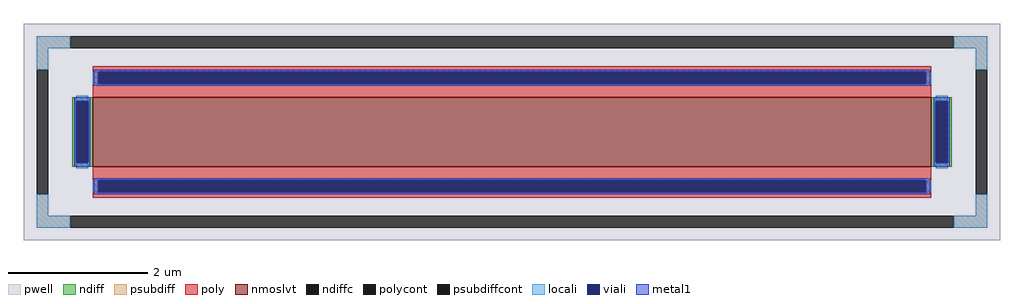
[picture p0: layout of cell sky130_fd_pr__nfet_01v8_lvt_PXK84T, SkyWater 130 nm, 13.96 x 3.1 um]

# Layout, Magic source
magic
tech sky130A
<< pwell >>
rect -698 -155 698 155
<< nmoslvt >>
rect -600 -50 600 50
<< ndiff >>
rect -629 44 -600 50
rect -629 -44 -623 44
rect -606 -44 -600 44
rect -629 -50 -600 -44
rect 600 44 629 50
rect 600 -44 606 44
rect 623 -44 629 44
rect 600 -50 629 -44
<< ndiffc >>
rect -623 -44 -606 44
rect 606 -44 623 44
<< psubdiff >>
rect -680 120 -632 137
rect 632 120 680 137
rect -680 89 -663 120
rect 663 89 680 120
rect -680 -120 -663 -89
rect 663 -120 680 -89
rect -680 -137 -632 -120
rect 632 -137 680 -120
<< psubdiffcont >>
rect -632 120 632 137
rect -680 -89 -663 89
rect 663 -89 680 89
rect -632 -137 632 -120
<< poly >>
rect -600 86 600 94
rect -600 69 -592 86
rect 592 69 600 86
rect -600 50 600 69
rect -600 -69 600 -50
rect -600 -86 -592 -69
rect 592 -86 600 -69
rect -600 -94 600 -86
<< polycont >>
rect -592 69 592 86
rect -592 -86 592 -69
<< locali >>
rect -680 120 -632 137
rect 632 120 680 137
rect -680 89 -663 120
rect 663 89 680 120
rect -600 69 -592 86
rect 592 69 600 86
rect -623 44 -606 52
rect -623 -52 -606 -44
rect 606 44 623 52
rect 606 -52 623 -44
rect -600 -86 -592 -69
rect 592 -86 600 -69
rect -680 -120 -663 -89
rect 663 -120 680 -89
rect -680 -137 -632 -120
rect 632 -137 680 -120
<< viali >>
rect -592 69 592 86
rect -623 -44 -606 44
rect 606 -44 623 44
rect -592 -86 592 -69
<< metal1 >>
rect -598 86 598 89
rect -598 69 -592 86
rect 592 69 598 86
rect -598 66 598 69
rect -626 44 -603 50
rect -626 -44 -623 44
rect -606 -44 -603 44
rect -626 -50 -603 -44
rect 603 44 626 50
rect 603 -44 606 44
rect 623 -44 626 44
rect 603 -50 626 -44
rect -598 -69 598 -66
rect -598 -86 -592 -69
rect 592 -86 598 -69
rect -598 -89 598 -86
<< properties >>
string FIXED_BBOX -671 -128 671 128
string gencell sky130_fd_pr__nfet_01v8_lvt
string library sky130
string parameters w 1.0 l 12.0 m 1 nf 1 diffcov 100 polycov 100 guard 1 glc 1 grc 1 gtc 1 gbc 1 tbcov 100 rlcov 100 topc 1 botc 1 poverlap 0 doverlap 1 lmin 0.15 wmin 0.42 compatible {sky130_fd_pr__nfet_01v8 sky130_fd_pr__nfet_01v8_lvt  sky130_fd_bs_flash__special_sonosfet_star  sky130_fd_pr__nfet_g5v0d10v5 sky130_fd_pr__nfet_05v0_nvt  sky130_fd_pr__nfet_03v3_nvt} full_metal 1 viasrc 100 viadrn 100 viagate 100 viagb 0 viagr 0 viagl 0 viagt 0
<< end >>
